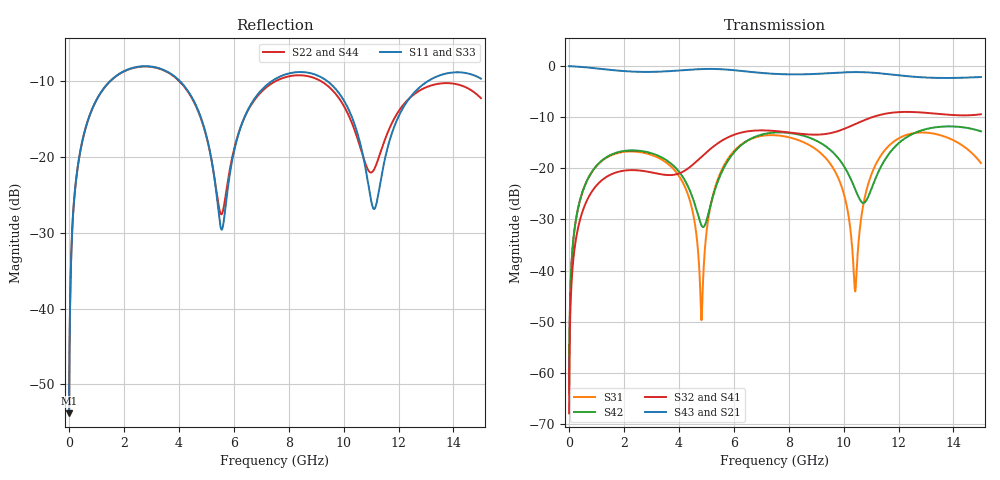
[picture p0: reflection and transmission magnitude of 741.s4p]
! Created with skrf 1.8.0 (http://scikit-rf.org).
# GHz S RI R 50.0
!freq ReS11 ImS11 ReS12 ImS12 ReS13 ImS13
! ReS14 ImS14
! ReS21 ImS21 ReS22 ImS22 ReS23 ImS23
! ReS24 ImS24
! ReS31 ImS31 ReS32 ImS32 ReS33 ImS33
! ReS34 ImS34
! ReS41 ImS41 ReS42 ImS42 ReS43 ImS43
! ReS44 ImS44
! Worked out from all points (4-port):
!   2499 points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, 5 MHz to 15 GHz, reference 50 ohm
!   strongest paths, dB at 5 MHz, 3.476 GHz, 7.19 GHz, 11.1 GHz, 15 GHz:
!     S43: 0.0, -1.0, -1.4, -1.3, -2.1
!     S21: 0.0, -1.0, -1.4, -1.3, -2.2
!     S32: -67.9, -21.3, -12.6, -9.9, -9.4
!     S41: -67.9, -21.3, -12.7, -9.9, -9.5
!     S42: -64.0, -18.2, -13.2, -22.8, -12.8
!     S31: -64.0, -18.6, -13.5, -20.1, -19.0
!   lowest |S11| = -53.8 dB at 5 MHz (marker M1), VSWR 1.00, Z = 50.2 + j0.124 ohm
!   |S11| at or under -10 dB: start of sweep to 1.493 GHz; 4.043 GHz to 7.38 GHz (3.337 GHz wide, 58.4 % of centre); 9.412 GHz to 13.06 GHz (3.652 GHz wide, 32.5 % of centre)
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0.005  0.00162 0.00123  0.9984 -0.00315  8.06e-05 0.000624  -7.84e-05 -0.000394
       0.9984 -0.00315  0.00162 0.00123  -7.84e-05 -0.000394  8.07e-05 0.000624
       8.06e-05 0.000624  -7.84e-05 -0.000394  0.00162 0.00123  0.9984 -0.00315
       -7.84e-05 -0.000394  8.07e-05 0.000624  0.9984 -0.00315  0.00162 0.00123
0.3126303  0.0236 0.0812  0.9679 -0.1962  0.0103 0.0372  -0.00876 -0.0232
           0.9679 -0.1962  0.0235 0.0812  -0.00877 -0.0232  0.0107 0.0371
           0.0103 0.0372  -0.00877 -0.0232  0.0235 0.0812  0.9679 -0.1962
           -0.00876 -0.0232  0.0107 0.0371  0.9679 -0.1962  0.0235 0.0812
1.519383  0.2619 0.1832  0.5712 -0.7173  0.1168 0.065  -0.0862 -0.0101
          0.5712 -0.7173  0.2599 0.1845  -0.0864 -0.00991  0.1224 0.0579
          0.1168 0.065  -0.0864 -0.00991  0.2617 0.1833  0.5712 -0.7173
          -0.0862 -0.0101  0.1224 0.0579  0.5712 -0.7173  0.26 0.1844
4.827011  0.0934 -0.1507  -0.8233 -0.4429  -0.00312 -0.000976  -0.0588 0.1156
          -0.8233 -0.4429  0.1004 -0.143  -0.0566 0.1167  -0.0235 -0.0146
          -0.00312 -0.000976  -0.0566 0.1167  0.0933 -0.1503  -0.8233 -0.443
          -0.0588 0.1156  -0.0235 -0.0146  -0.8233 -0.443  0.1 -0.1427
8.678616  0.3548 -0.0659  0.034 0.8317  0.1649 -0.0524  0.1975 -0.0769
          0.034 0.8317  0.3394 -0.0444  0.1976 -0.0844  0.1634 -0.12
          0.1649 -0.0524  0.1976 -0.0844  0.3532 -0.0622  0.0335 0.832
          0.1975 -0.0769  0.1634 -0.12  0.0335 0.832  0.3402 -0.0481
10.42309  0.0918 -0.1309  0.7401 0.4642  0.00597 0.00186  0.1406 -0.2311
          0.7401 0.4642  0.1119 -0.095  0.1306 -0.2371  -0.0434 -0.0449
          0.00597 0.00186  0.1306 -0.2371  0.0952 -0.1285  0.7397 0.4651
          0.1406 -0.2311  -0.0434 -0.0449  0.7397 0.4651  0.1078 -0.0976
15  0.2898 -0.1561  -0.2609 -0.734  0.1059 -0.0387  -0.3002 0.1461
    -0.2609 -0.734  0.2275 -0.0901  -0.2942 0.1663  0.0391 -0.2269
    0.1059 -0.0387  -0.2942 0.1663  0.2822 -0.1462  -0.2608 -0.7369
    -0.3002 0.1461  0.0391 -0.2269  -0.2608 -0.7369  0.2187 -0.098
